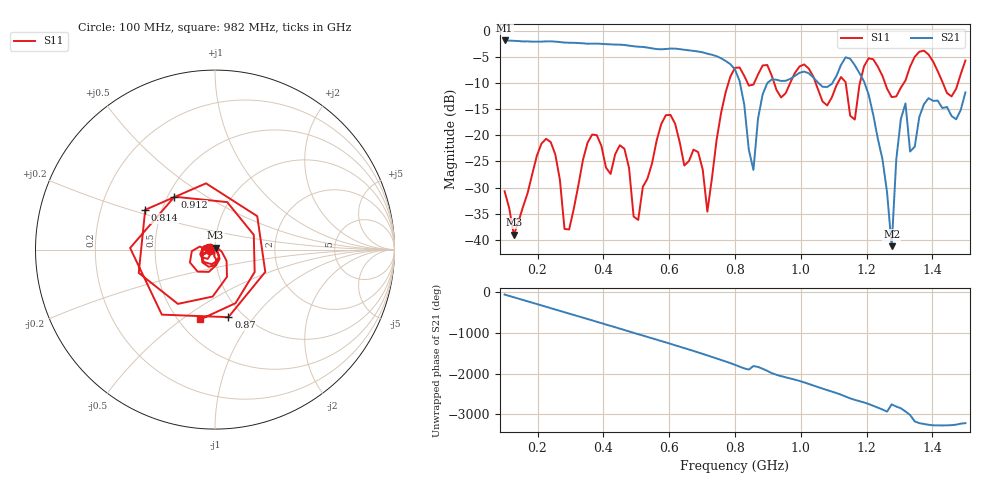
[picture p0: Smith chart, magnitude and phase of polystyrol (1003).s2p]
! NanoVNA-App
! Date: 2025-09-25 15:37:41
! Start: 100MHz Stop: 1,5GHz Points: 101
! S-Parameter data: F S11 S21 S12 S22
# Hz S RI R 50
!  Frequency  S11_Real  S11_Imag  S21_Real  S21_Imag  S12_Real  S12_Imag  S22_Real  S22_Imag
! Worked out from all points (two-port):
!   101 points, 100 MHz to 1.5 GHz, reference 50 ohm
!   highest |S21| = -1.80 dB at 100 MHz (marker M1); lowest = -41.2 dB at 1.276 GHz (marker M2)
!   |S21| within 3 dB of the highest: start of sweep to 743.4 MHz
!   lowest |S11| = -39.1 dB at 128 MHz (marker M3), VSWR 1.02, Z = 50.3 + j1.06 ohm
!   |S11| at or under -10 dB: start of sweep to 779.9 MHz; 1.045 GHz to 1.112 GHz (66.54 MHz wide, 6.17 % of centre); 1.256 GHz to 1.313 GHz (56.59 MHz wide, 4.41 % of centre) (the widest 3 of 7)
!   S12 and S22 are empty: the file has one direction only
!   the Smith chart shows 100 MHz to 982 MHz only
!   S11 on the Smith chart (normalised r, x): 100 MHz: 0.94, -0.01; 814 MHz: 0.40, +0.22; 870 MHz: 0.85, -0.75; 912 MHz: 0.54, +0.37; 982 MHz: 0.64, -0.59
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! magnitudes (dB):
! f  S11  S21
! 100 MHz  -30.7  -1.8
! 128 MHz  -39.1  -1.9
! 212 MHz  -21.6  -2.0
! 282 MHz  -37.9  -2.2
! 338 MHz  -24.7  -2.3
! 464 MHz  -22.6  -2.7
! 506 MHz  -36.2  -3.0
! 576 MHz  -17.8  -3.5
! 716 MHz  -34.6  -4.3
! 800 MHz  -7.0  -7.4
! 814 MHz  -7.0  -9.6
! 856 MHz  -10.3  -26.6
! 870 MHz  -8.3  -16.8
! 912 MHz  -8.6  -9.3
! 982 MHz  -8.0  -8.6
! 1.038 GHz  -8.7  -8.9
! 1.164 GHz  -17.0  -6.6
! 1.192 GHz  -6.8  -9.7
! 1.276 GHz  -12.7  -41.2
! 1.318 GHz  -9.5  -13.9
! 1.332 GHz  -6.8  -23.1
! 1.5 GHz  -5.7  -11.8
